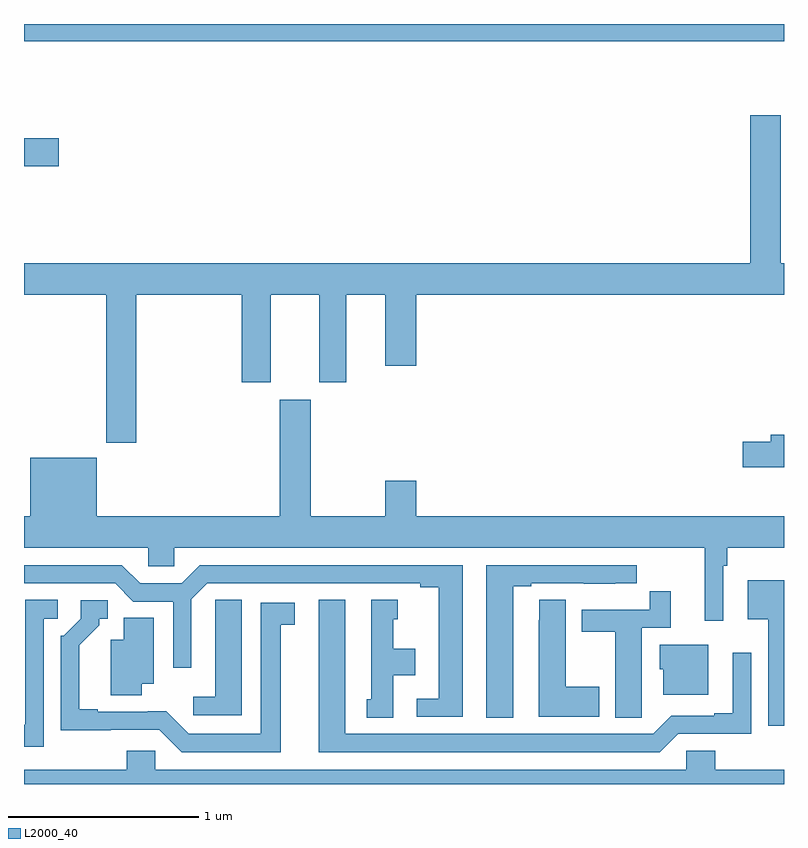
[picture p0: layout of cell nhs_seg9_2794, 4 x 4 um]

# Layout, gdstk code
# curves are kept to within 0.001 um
import gdstk
lib = gdstk.Library(unit=1e-6, precision=1e-09)
def R(c, l, rs):  # rectangles x0, y0, x1, y1
    for r in rs: c.add(gdstk.rectangle(r[:2], r[2:], *l))
def P(c, l, *ps):  # polygons
    for p in ps: c.add(gdstk.Polygon(p, *l))
L2000_40 = (2000, 40)

nhs_seg9_2794 = lib.new_cell('nhs_seg9_2794')
R(nhs_seg9_2794, L2000_40, [(271,1207.751,271.183,1207.898), (271,1208.408,275,1208.5)])
P(nhs_seg9_2794, L2000_40, [(271.592,1207.076),(272.147,1207.076),(272.147,1206.615),(272.299,1206.615),(272.299,1207.076),(272.555,1207.076),(272.555,1206.615),(272.695,1206.615),(272.695,1207.076),(272.9,1207.076),(272.9,1206.702),(273.064,1206.702),(273.064,1207.076),(275,1207.076),(275,1207.24),(274.983,1207.24),(274.983,1208.02),(274.823,1208.02),(274.823,1207.24),(271,1207.24),(271,1207.076),(271.432,1207.076),(271.432,1206.297),(271.592,1206.297)],
  [(274.68,1205.648),(274.7,1205.648),(274.7,1205.744),(275,1205.744),(275,1205.908),(273.064,1205.908),(273.064,1206.097),(272.9,1206.097),(272.9,1205.908),(272.509,1205.908),(272.509,1206.523),(272.345,1206.523),(272.345,1205.908),(271.384,1205.908),(271.384,1206.217),(271.034,1206.217),(271.034,1205.908),(271,1205.908),(271,1205.744),(271.653,1205.744),(271.653,1205.646),(271.791,1205.646),(271.791,1205.744),(274.583,1205.744),(274.583,1205.358),(274.68,1205.358)],
  [(275,1206.338),(274.931,1206.338),(274.931,1206.302),(274.782,1206.302),(274.782,1206.167),(275,1206.167)],
  [(273.31,1205.652),(271.925,1205.652),(271.829,1205.556),(271.611,1205.556),(271.515,1205.652),(271,1205.652),(271,1205.556),(271.479,1205.556),(271.575,1205.46),(271.785,1205.46),(271.785,1205.112),(271.881,1205.112),(271.881,1205.472),(271.965,1205.556),(273.086,1205.556),(273.086,1205.536),(273.182,1205.536),(273.182,1204.95),(273.066,1204.95),(273.066,1204.854),(273.31,1204.854)],
  [(273.574,1205.541),(273.67,1205.541),(273.67,1205.556),(273.946,1205.556),(273.946,1205.555),(274.112,1205.555),(274.112,1205.556),(274.225,1205.556),(274.225,1205.652),(273.434,1205.652),(273.434,1204.849),(273.574,1204.849)],
  [(275,1205.572),(274.808,1205.572),(274.808,1205.366),(274.917,1205.366),(274.917,1204.806),(275,1204.806)],
  [(274.251,1204.96),(274.252,1204.96),(274.252,1205.322),(274.403,1205.322),(274.403,1205.515),(274.294,1205.515),(274.294,1205.418),(273.935,1205.418),(273.935,1205.302),(274.112,1205.302),(274.112,1204.849),(274.251,1204.849)],
  [(272.146,1205.471),(272.007,1205.471),(272.007,1205.363),(272.006,1205.363),(272.006,1204.96),(271.89,1204.96),(271.89,1204.863),(272.146,1204.863)],
  [(271.104,1205.37),(271.177,1205.37),(271.177,1205.471),(271.007,1205.471),(271.007,1204.811),(271,1204.811),(271,1204.695),(271.104,1204.695)],
  [(274.027,1205.013),(273.85,1205.013),(273.85,1205.471),(273.711,1205.471),(273.711,1205.363),(273.71,1205.363),(273.71,1204.853),(274.027,1204.853)],
  [(274.443,1204.764),(274.827,1204.764),(274.827,1205.191),(274.73,1205.191),(274.73,1204.873),(274.634,1204.873),(274.634,1204.86),(274.407,1204.86),(274.311,1204.764),(272.692,1204.764),(272.692,1205.47),(272.552,1205.47),(272.552,1204.668),(274.347,1204.668)],
  [(272.944,1205.072),(273.058,1205.072),(273.058,1205.212),(272.944,1205.212),(272.944,1205.367),(272.968,1205.367),(272.968,1205.47),(272.828,1205.47),(272.828,1204.947),(272.804,1204.947),(272.804,1204.849),(272.944,1204.849)],
  [(272.35,1205.338),(272.425,1205.338),(272.425,1205.454),(272.246,1205.454),(272.246,1204.764),(271.866,1204.764),(271.748,1204.882),(271.387,1204.881),(271.387,1204.894),(271.291,1204.894),(271.291,1205.23),(271.396,1205.335),(271.396,1205.37),(271.441,1205.37),(271.441,1205.466),(271.299,1205.466),(271.299,1205.37),(271.209,1205.28),(271.194,1205.28),(271.194,1204.784),(271.713,1204.785),(271.83,1204.668),(272.35,1204.668)],
  [(271.621,1205.027),(271.684,1205.027),(271.684,1205.375),(271.526,1205.375),(271.526,1205.26),(271.457,1205.26),(271.457,1204.966),(271.621,1204.966)],
  [(274.6,1205.233),(274.346,1205.233),(274.346,1205.103),(274.364,1205.103),(274.364,1204.97),(274.6,1204.97)],
  [(275,1204.576),(274.637,1204.576),(274.637,1204.674),(274.485,1204.674),(274.485,1204.576),(271.692,1204.576),(271.692,1204.674),(271.541,1204.674),(271.541,1204.576),(271,1204.576),(271,1204.5),(275,1204.5)])

lib.write_gds('nhs_seg9_2794.gds')
